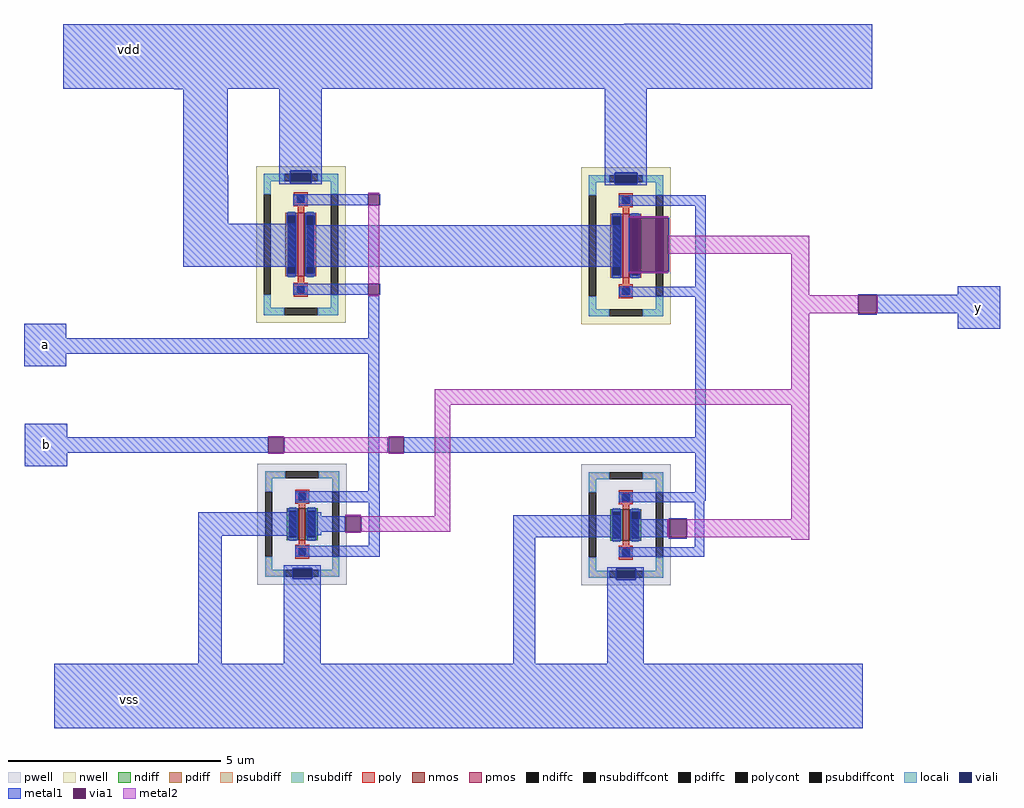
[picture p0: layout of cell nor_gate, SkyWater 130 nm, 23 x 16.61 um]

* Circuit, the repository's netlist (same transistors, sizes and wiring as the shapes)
** sch_path: /home/eprempeh/tt_09analog_course/xschem/nor_gate.sch
.subckt nor_gate vdd a y b vss
*.PININFO a:I b:I y:O vdd:B vss:B
XM1 net1 a vdd vdd sky130_fd_pr__pfet_01v8 L=0.15 W=1.5 nf=1 m=1
XM2 y b net1 vdd sky130_fd_pr__pfet_01v8 L=0.15 W=1.5 nf=1 m=1
XM3 y a vss vss sky130_fd_pr__nfet_01v8 L=0.15 W=0.75 nf=1 m=1
XM4 y b vss vss sky130_fd_pr__nfet_01v8 L=0.15 W=0.75 nf=1 m=1
.ends
.end

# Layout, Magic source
magic
tech sky130A
magscale 1 2
<< viali >>
rect 1650 -38 1750 20
rect 3180 -40 3286 10
rect 1662 -1902 1754 -1854
rect 3188 -1908 3280 -1854
<< metal1 >>
rect 3226 712 3490 714
rect 582 408 4394 712
rect 1103 404 1357 408
rect 1146 0 1357 404
rect 1600 20 1800 408
rect 1146 -230 1358 0
rect 1600 -38 1650 20
rect 1750 -38 1800 20
rect 1600 -44 1800 -38
rect 3132 406 3488 408
rect 3132 10 3332 406
rect 3132 -40 3180 10
rect 3286 -40 3332 10
rect 3132 -48 3332 -40
rect 1666 -142 2018 -90
rect 2070 -142 2076 -90
rect 3200 -144 3608 -96
rect 1146 -432 1680 -230
rect 1722 -432 3210 -236
rect 3246 -456 3252 -200
rect 3432 -456 3438 -200
rect 1666 -564 2018 -512
rect 2070 -564 2076 -512
rect 3560 -526 3608 -144
rect 396 -768 596 -700
rect 2018 -768 2070 -564
rect 3202 -574 3608 -526
rect 4329 -565 4414 -561
rect 4796 -565 4996 -524
rect 396 -779 2070 -768
rect 396 -832 2071 -779
rect 396 -842 2070 -832
rect 396 -900 596 -842
rect 400 -1236 600 -1172
rect 400 -1308 1548 -1236
rect 1620 -1308 1626 -1236
rect 400 -1372 600 -1308
rect 2018 -1490 2070 -842
rect 3560 -1236 3608 -574
rect 4328 -567 4996 -565
rect 4328 -652 4329 -567
rect 4414 -652 4996 -567
rect 4329 -658 4414 -652
rect 4796 -724 4996 -652
rect 2108 -1308 2114 -1236
rect 2186 -1308 3608 -1236
rect 1674 -1542 2072 -1490
rect 3560 -1496 3608 -1308
rect 3198 -1536 3608 -1496
rect 3198 -1542 3603 -1536
rect 1217 -1700 1686 -1590
rect 1726 -1607 1798 -1590
rect 1726 -1680 1909 -1607
rect 1982 -1680 1988 -1607
rect 1726 -1698 1798 -1680
rect 1217 -2304 1327 -1700
rect 2020 -1748 2072 -1542
rect 1674 -1800 2072 -1748
rect 2702 -1708 3212 -1604
rect 3434 -1622 3519 -1617
rect 3253 -1623 3519 -1622
rect 3253 -1708 3434 -1623
rect 1620 -1854 1794 -1838
rect 1620 -1902 1662 -1854
rect 1754 -1902 1794 -1854
rect 1620 -2304 1794 -1902
rect 2702 -2304 2806 -1708
rect 3434 -1714 3519 -1708
rect 3557 -1753 3603 -1542
rect 3199 -1799 3603 -1753
rect 3144 -1854 3318 -1848
rect 3144 -1908 3188 -1854
rect 3280 -1908 3318 -1854
rect 3144 -2304 3318 -1908
rect 538 -2608 4350 -2304
<< via1 >>
rect 2018 -142 2070 -90
rect 3252 -456 3432 -200
rect 2018 -564 2070 -512
rect 1548 -1308 1620 -1236
rect 4329 -652 4414 -567
rect 2114 -1308 2186 -1236
rect 1909 -1680 1982 -1607
rect 3434 -1708 3519 -1623
<< metal2 >>
rect 2018 -90 2070 -84
rect 2018 -512 2070 -142
rect 3252 -200 3432 -194
rect 3432 -370 4098 -285
rect 3252 -462 3432 -456
rect 2018 -570 2070 -564
rect 4013 -567 4098 -370
rect 4013 -652 4329 -567
rect 4414 -652 4420 -567
rect 4013 -1010 4098 -652
rect 2333 -1083 4098 -1010
rect 1548 -1236 1620 -1230
rect 2114 -1236 2186 -1230
rect 1620 -1308 2114 -1236
rect 1548 -1314 1620 -1308
rect 2114 -1314 2186 -1308
rect 1909 -1607 1982 -1601
rect 2333 -1607 2406 -1083
rect 1982 -1680 2406 -1607
rect 4013 -1623 4098 -1083
rect 1909 -1686 1982 -1680
rect 3428 -1708 3434 -1623
rect 3519 -1708 4098 -1623
rect 4013 -1718 4098 -1708
use sky130_fd_pr__pfet_01v8_XJP3BL  XM1
transform 1 0 1701 0 1 -327
box -211 -369 211 369
use sky130_fd_pr__pfet_01v8_XJP3BL  XM2
transform 1 0 3233 0 1 -333
box -211 -369 211 369
use sky130_fd_pr__nfet_01v8_CSX3TK  XM3
transform 1 0 1707 0 1 -1645
box -211 -285 211 285
use sky130_fd_pr__nfet_01v8_CSX3TK  XM4
transform 1 0 3233 0 1 -1649
box -211 -285 211 285
<< labels >>
flabel metal1 4796 -724 4996 -524 0 FreeSans 256 0 0 0 y
port 2 nsew
flabel metal1 792 490 992 690 0 FreeSans 256 0 0 0 vdd
port 0 nsew
flabel metal1 792 -2572 992 -2372 0 FreeSans 256 0 0 0 vss
port 4 nsew
flabel metal1 396 -900 596 -700 0 FreeSans 256 0 0 0 a
port 1 nsew
flabel metal1 400 -1372 600 -1172 0 FreeSans 256 0 0 0 b
port 3 nsew
<< end >>

# cell sky130_fd_pr__pfet_01v8_XJP3BL: kit device sky130_fd_pr__pfet_01v8, w 1.5 l 0.15 m 1 nf 1 diffcov 100 polycov 100 guard 1 glc 1 grc 1 gtc 1 gbc 1 tbcov 100 rlcov 100 topc 1 botc 1 poverlap 0 doverlap 1 lmin 0.15 wmin 0.42 compatible {sky130_fd_pr__pfet_01v8 sky130_fd_pr__pfet_01v8_lvt sky130_fd_pr__pfet_01v8_hvt sky130_fd_pr__pfet_g5v0d10v5} full_metal 1 viasrc 100 viadrn 100 viagate 100 viagb 0 viagr 0 viagl 0 viagt 0

# cell sky130_fd_pr__nfet_01v8_CSX3TK: kit device sky130_fd_pr__nfet_01v8, w 0.75 l 0.15 m 1 nf 1 diffcov 100 polycov 100 guard 1 glc 1 grc 1 gtc 1 gbc 1 tbcov 100 rlcov 100 topc 1 botc 1 poverlap 0 doverlap 1 lmin 0.15 wmin 0.42 compatible {sky130_fd_pr__nfet_01v8 sky130_fd_pr__nfet_01v8_lvt sky130_fd_bs_flash__special_sonosfet_star sky130_fd_pr__nfet_g5v0d10v5 sky130_fd_pr__nfet_05v0_nvt sky130_fd_pr__nfet_03v3_nvt} full_metal 1 viasrc 100 viadrn 100 viagate 100 viagb 0 viagr 0 viagl 0 viagt 0
